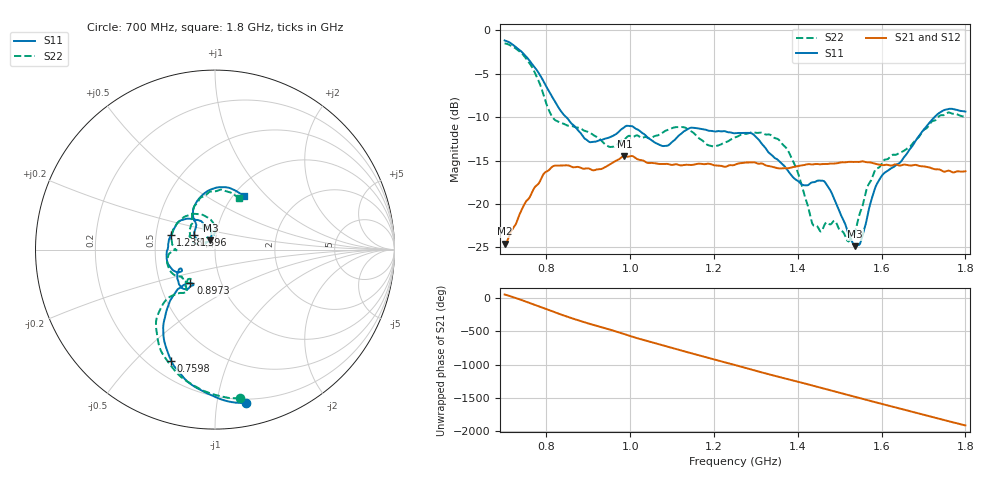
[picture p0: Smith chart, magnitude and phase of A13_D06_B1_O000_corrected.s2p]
! Created with skrf 1.9.0 (http://scikit-rf.org).
# Hz S RI R 50.0
!freq ReS11 ImS11 ReS21 ImS21 ReS12 ImS12 ReS22 ImS22
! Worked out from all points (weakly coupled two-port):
!   1601 points, 700 MHz to 1.8 GHz, reference 50 ohm
!   highest |S21| = -14.48 dB at 986 MHz (marker M1); lowest = -24.6 dB at 700 MHz (marker M2)
!   lowest |S11| = -24.9 dB at 1.537 GHz (marker M3), VSWR 1.12, Z = 47.2 + j4.83 ohm
!   |S11| at or under -10 dB: 846.9 MHz to 1.726 GHz (879.5 MHz wide, 68.4 % of centre)
!   |S22| runs from -24.3 to -1.5 dB; largest |S21 - S12| = 0.0034
!   S11 on the Smith chart (normalised r, x): 700 MHz: 0.17, -1.21; 759.8 MHz: 0.29, -0.64; 897.3 MHz: 0.71, -0.28; 1.238 GHz: 0.60, +0.10; 1.596 GHz: 0.79, +0.13; 1.8 GHz: 1.12, +0.76
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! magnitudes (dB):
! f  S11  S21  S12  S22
! 700 MHz  -1.2  -24.6  -24.3  -1.5
! 759.8 MHz  -3.5  -19.2  -19.1  -3.8
! 816.2 MHz  -7.9  -15.6  -15.7  -10.1
! 883.6 MHz  -12.0  -15.9  -15.8  -11.4
! 897.3 MHz  -12.7  -15.9  -16.0  -11.7
! 951.6 MHz  -12.3  -15.4  -15.4  -13.4
! 986 MHz  -11.2  -14.5  -14.6  -12.6
! 1.067 GHz  -13.1  -15.4  -15.3  -12.1
! 1.145 GHz  -11.2  -15.5  -15.5  -11.6
! 1.238 GHz  -11.8  -15.5  -15.6  -12.7
! 1.25 GHz  -11.9  -15.5  -15.4  -12.3
! 1.357 GHz  -15.2  -15.9  -15.9  -12.7
! 1.396 GHz  -17.2  -15.7  -15.7  -15.8
! 1.434 GHz  -17.5  -15.5  -15.4  -22.1
! 1.469 GHz  -17.8  -15.4  -15.4  -22.1
! 1.52 GHz  -23.4  -15.2  -15.2  -24.3
! 1.537 GHz  -24.9  -15.2  -15.2  -23.2
! 1.567 GHz  -21.2  -15.2  -15.2  -17.9
! 1.596 GHz  -17.1  -15.5  -15.5  -15.7
! 1.617 GHz  -16.1  -15.5  -15.5  -14.8
! 1.736 GHz  -9.6  -16.0  -16.1  -10.0
! 1.8 GHz  -9.4  -16.2  -16.2  -10.0
